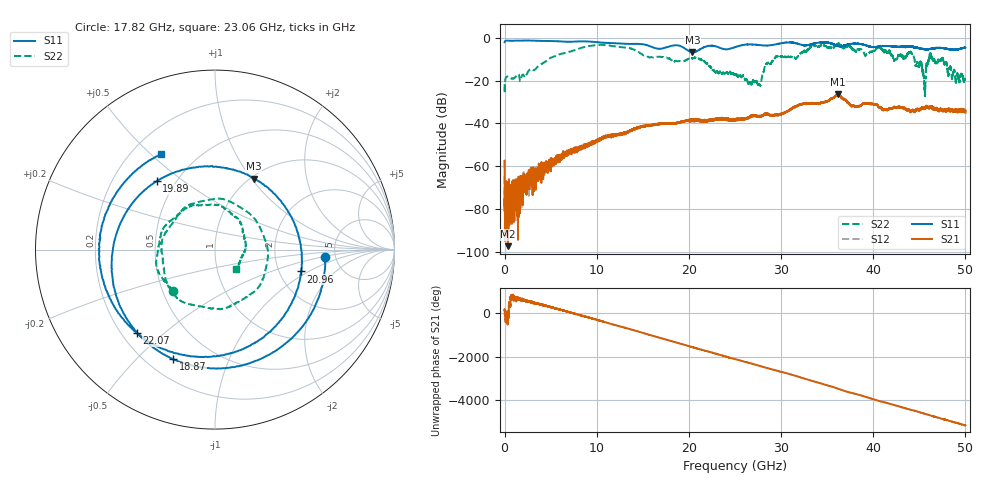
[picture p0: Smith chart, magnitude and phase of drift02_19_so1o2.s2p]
!Created with skrf (http://scikit-rf.org).
# Hz S RI R 50.0
!freq ReS11 ImS11 ReS21 ImS21 ReS12 ImS12 ReS22 ImS22
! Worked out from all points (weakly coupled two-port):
!   10001 points, 300 kHz to 50 GHz, reference 50 ohm
!   highest |S21| = -26.28 dB at 36.13 GHz (marker M1); lowest = -97.2 dB at 350.3 MHz (marker M2)
!   lowest |S11| = -6.9 dB at 20.38 GHz (marker M3), VSWR 2.64, Z = 51.5 + j51.2 ohm
!   |S11| at or under -10 dB: nowhere
!   |S22| runs from -27.3 to -2.7 dB; largest |S21 - S12| = 0.0047
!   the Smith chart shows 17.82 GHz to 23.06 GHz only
!   S11 on the Smith chart (normalised r, x): 17.82 GHz: 4.14, -0.54; 18.87 GHz: 0.30, -0.65; 19.89 GHz: 0.39, +0.40; 20.96 GHz: 2.64, -0.85; 22.07 GHz: 0.26, -0.41; 23.06 GHz: 0.32, +0.54
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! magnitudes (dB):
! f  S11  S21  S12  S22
! 300 kHz  -2.1  -57.4  -64.9  -21.7
! 350.3 MHz  -1.4  -97.2  -81.1  -18.2
! 2.08 GHz  -1.3  -66.4  -64.1  -17.6
! 8.335 GHz  -1.7  -50.8  -50.8  -4.7
! 16.67 GHz  -5.2  -40.1  -40.2  -9.0
! 17.82 GHz  -4.2  -40.1  -40.2  -9.7
! 18.87 GHz  -3.7  -39.7  -39.6  -11.0
! 19.89 GHz  -6.0  -38.5  -38.7  -10.0
! 20.38 GHz  -6.9  -38.4  -38.7  -9.6
! 20.96 GHz  -6.1  -38.7  -38.5  -9.3
! 22.07 GHz  -3.9  -38.5  -38.7  -12.4
! 23.06 GHz  -4.3  -38.1  -37.8  -16.0
! 25 GHz  -4.5  -38.2  -38.4  -17.5
! 27.62 GHz  -3.5  -36.8  -36.6  -21.9
! 28.5 GHz  -3.7  -35.6  -35.8  -12.2
! 33.34 GHz  -3.0  -30.6  -30.5  -3.8
! 36.13 GHz  -3.9  -26.3  -26.9  -3.2
! 41.67 GHz  -3.9  -33.2  -33.4  -6.3
! 44.12 GHz  -4.1  -34.6  -34.2  -7.1
! 45.51 GHz  -5.3  -32.7  -33.1  -18.9
! 46.27 GHz  -5.2  -32.4  -32.2  -9.2
! 50 GHz  -4.7  -35.0  -34.7  -19.1
